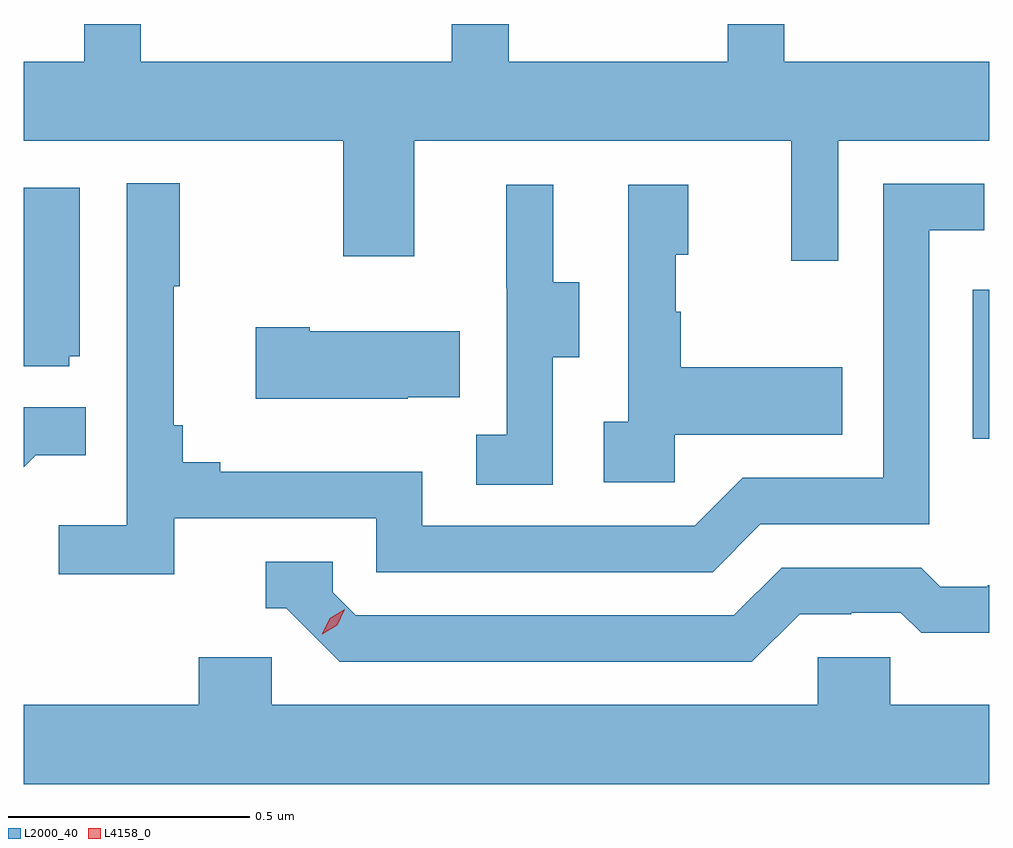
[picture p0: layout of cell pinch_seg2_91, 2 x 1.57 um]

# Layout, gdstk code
import gdstk
lib = gdstk.Library(unit=1e-6, precision=1e-09)
def R(c, l, rs):  # rectangles x0, y0, x1, y1
    for r in rs: c.add(gdstk.rectangle(r[:2], r[2:], *l))
def P(c, l, *ps):  # polygons
    for p in ps: c.add(gdstk.Polygon(p, *l))
L2000_40 = (2000, 40)
L4158_0 = (4158, 0)

pinch_seg2_91 = lib.new_cell('pinch_seg2_91')
R(pinch_seg2_91, L2000_40, [(1055.352,648.351,1055.386,648.66)])
P(pinch_seg2_91, L2000_40, [(1055.073,648.968),(1055.386,648.968),(1055.386,649.132),(1054.961,649.132),(1054.961,649.21),(1054.844,649.21),(1054.844,649.132),(1054.391,649.132),(1054.391,649.21),(1054.273,649.21),(1054.273,649.132),(1053.629,649.132),(1053.629,649.21),(1053.512,649.21),(1053.512,649.132),(1053.386,649.132),(1053.386,648.968),(1054.048,648.968),(1054.048,648.729),(1054.195,648.729),(1054.195,648.968),(1054.976,648.968),(1054.976,648.72),(1055.073,648.72)],
  [(1053.698,648.186),(1054.116,648.186),(1054.116,648.075),(1054.813,648.075),(1054.912,648.174),(1055.262,648.174),(1055.262,648.783),(1055.375,648.783),(1055.375,648.879),(1055.166,648.879),(1055.166,648.27),(1054.875,648.27),(1054.776,648.171),(1054.212,648.171),(1054.212,648.283),(1053.793,648.283),(1053.793,648.302),(1053.716,648.302),(1053.716,648.379),(1053.697,648.379),(1053.697,648.667),(1053.709,648.667),(1053.709,648.88),(1053.6,648.88),(1053.6,648.172),(1053.459,648.172),(1053.459,648.07),(1053.698,648.07)],
  [(1054.734,648.359),(1055.081,648.359),(1055.081,648.499),(1054.747,648.499),(1054.747,648.614),(1054.737,648.614),(1054.737,648.732),(1054.762,648.732),(1054.762,648.877),(1054.638,648.877),(1054.638,648.386),(1054.587,648.386),(1054.587,648.261),(1054.734,648.261)],
  [(1054.482,648.52),(1054.537,648.52),(1054.537,648.675),(1054.483,648.675),(1054.483,648.877),(1054.385,648.877),(1054.385,648.663),(1054.386,648.663),(1054.386,648.359),(1054.323,648.359),(1054.323,648.256),(1054.482,648.256)],
  [(1053.48,648.522),(1053.502,648.522),(1053.502,648.871),(1053.386,648.871),(1053.386,648.501),(1053.48,648.501)],
  [(1054.181,648.437),(1054.289,648.437),(1054.289,648.574),(1053.979,648.574),(1053.979,648.582),(1053.867,648.582),(1053.867,648.434),(1054.181,648.434)],
  [(1053.411,648.317),(1053.515,648.317),(1053.515,648.416),(1053.386,648.416),(1053.386,648.292)],
  [(1054.993,647.988),(1055.1,647.988),(1055.1,647.991),(1055.203,647.991),(1055.245,647.949),(1055.386,647.949),(1055.386,648.048),(1055.383,648.048),(1055.383,648.045),(1055.284,648.045),(1055.245,648.084),(1054.956,648.084),(1054.857,647.985),(1054.074,647.985),(1054.026,648.033),(1054.026,648.096),(1053.887,648.096),(1053.887,648),(1053.93,648),(1054.041,647.889),(1054.894,647.889)],
  [(1055.386,647.8),(1055.181,647.8),(1055.181,647.898),(1055.031,647.898),(1055.031,647.8),(1053.9,647.8),(1053.9,647.898),(1053.749,647.898),(1053.749,647.8),(1053.386,647.8),(1053.386,647.636),(1055.386,647.636)])
P(pinch_seg2_91, L4158_0, [(1054.004,647.946),(1054.004,647.947),(1054.02,647.979),(1054.051,647.998),(1054.051,647.998),(1054.051,647.998),(1054.035,647.965),(1054.004,647.946)])

lib.write_gds('pinch_seg2_91.gds')
